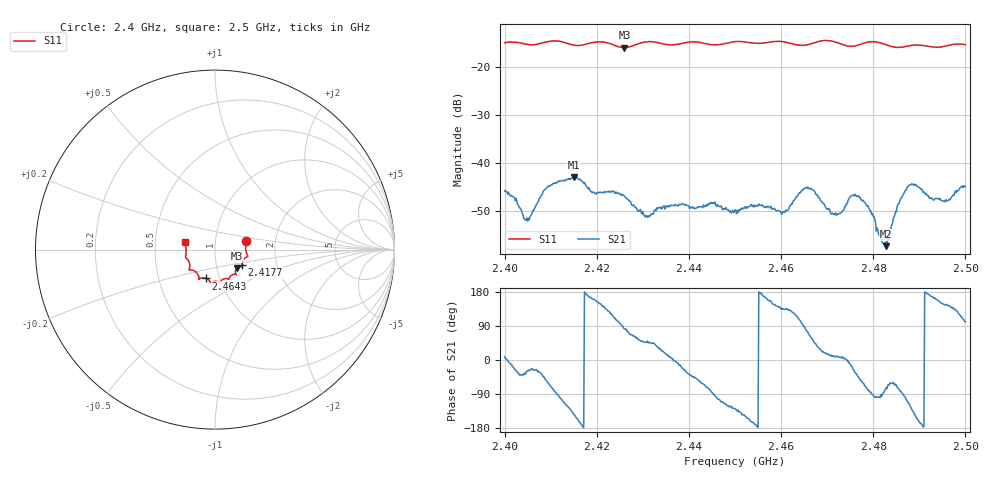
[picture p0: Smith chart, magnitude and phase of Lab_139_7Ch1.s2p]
# Hz S RI R 50
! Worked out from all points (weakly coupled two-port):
!   601 points, 2.4 GHz to 2.5 GHz, reference 50 ohm
!   highest |S21| = -42.87 dB at 2.415 GHz (marker M1); lowest = -57.3 dB at 2.4827 GHz (marker M2)
!   lowest |S11| = -16.0 dB at 2.426 GHz (marker M3), VSWR 1.38, Z = 62.2 - j13.2 ohm
!   |S11| at or under -10 dB: start of sweep to end of sweep
!   S12 and S22 are empty: the file has one direction only
!   S11 on the Smith chart (normalised r, x): 2.4 GHz: 1.41, +0.14; 2.4177 GHz: 1.33, -0.23; 2.4643 GHz: 0.86, -0.29; 2.5 GHz: 0.71, +0.06
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2.4e9  0.1728 0.0477  0.00508 0.000769  0 0  0 0
2.404833e9  0.1713 0.0175  0.00231 -0.00139  0 0  0 0
2.409167e9  0.1807 -0.0306  0.00306 -0.0046  0 0  0 0
2.415e9  0.16 -0.0544  -0.00573 -0.00434  0 0  0 0
2.416667e9  0.152 -0.0733  -0.00649 -0.00116  0 0  0 0
2.417667e9  0.1507 -0.0847  -0.00585 0.00058  0 0  0 0
2.426e9  0.1208 -0.1036  0.000578 0.00449  0 0  0 0
2.430833e9  0.1184 -0.1397  0.00195 0.00206  0 0  0 0
2.433333e9  0.1142 -0.1376  0.00289 0.00188  0 0  0 0
2.445167e9  0.0552 -0.1614  0.000141 -0.0038  0 0  0 0
2.45e9  0.0277 -0.1818  -0.00203 -0.00257  0 0  0 0
2.4605e9  -0.0267 -0.1816  -0.00221 0.00222  0 0  0 0
2.464333e9  -0.0491 -0.1608  -0.000846 0.00505  0 0  0 0
2.466667e9  -0.076 -0.1582  0.003 0.00446  0 0  0 0
2.4715e9  -0.089 -0.1609  0.00288 0.000454  0 0  0 0
2.476833e9  -0.1249 -0.1148  0.00315 -0.00332  0 0  0 0
2.482667e9  -0.1409 -0.0976  0.000286 -0.00134  0 0  0 0
2.483333e9  -0.1404 -0.0906  0.000647 -0.00148  0 0  0 0
2.485667e9  -0.1466 -0.0643  0.000787 -0.00383  0 0  0 0
2.487833e9  -0.1595 -0.049  -0.00269 -0.00529  0 0  0 0
2.495167e9  -0.1626 0.012  -0.00342 0.00216  0 0  0 0
2.5e9  -0.1649 0.044  -0.00105 0.00561  0 0  0 0
